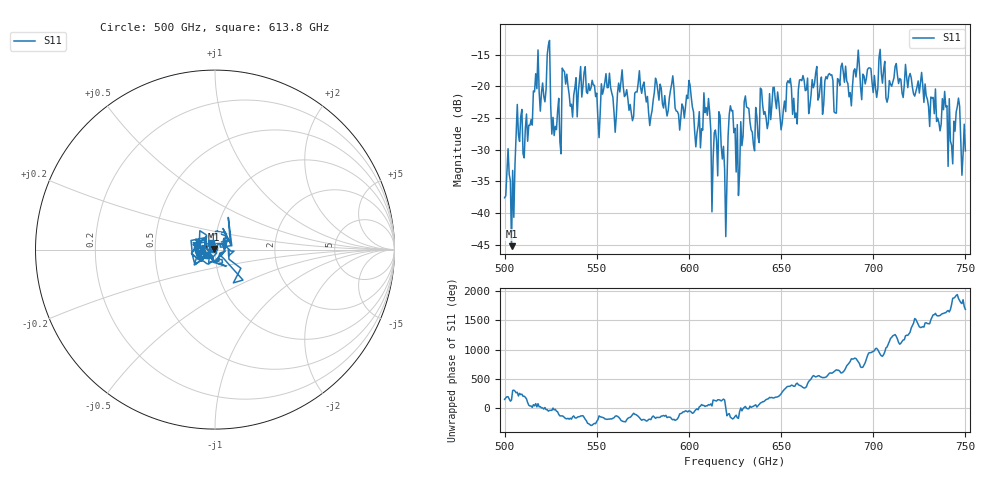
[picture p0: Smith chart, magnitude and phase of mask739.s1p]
!Created with skrf (http://scikit-rf.org).
# GHz S MA R 50.0
!freq magS11 angS11
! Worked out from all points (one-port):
!   401 points, 500 GHz to 750 GHz, reference 50 ohm
!   lowest |S11| = -45.3 dB at 503.8 GHz (marker M1), VSWR 1.01, Z = 49.6 + j0.408 ohm
!   |S11| at or under -10 dB: start of sweep to end of sweep
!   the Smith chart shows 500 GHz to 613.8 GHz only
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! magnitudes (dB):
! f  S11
! 500 GHz  -37.6
! 503.8 GHz  -45.3
! 507.5 GHz  -27.7
! 513.8 GHz  -26.2
! 516.9 GHz  -18.0
! 523.8 GHz  -13.5
! 526.9 GHz  -27.8
! 531.2 GHz  -17.1
! 532.5 GHz  -17.7
! 550.6 GHz  -25.1
! 562.5 GHz  -20.9
! 593.8 GHz  -24.0
! 609.4 GHz  -23.4
! 613.1 GHz  -31.5
! 617.5 GHz  -29.4
! 619.4 GHz  -33.1
! 622.5 GHz  -23.1
! 625 GHz  -26.6
! 626.2 GHz  -26.0
! 631.2 GHz  -23.3
! 634.4 GHz  -27.2
! 656.2 GHz  -24.4
! 687.5 GHz  -21.0
! 718.8 GHz  -20.2
! 738.8 GHz  -20.8
! 741.9 GHz  -28.6
! 745.6 GHz  -23.2
! 750 GHz  -30.2
